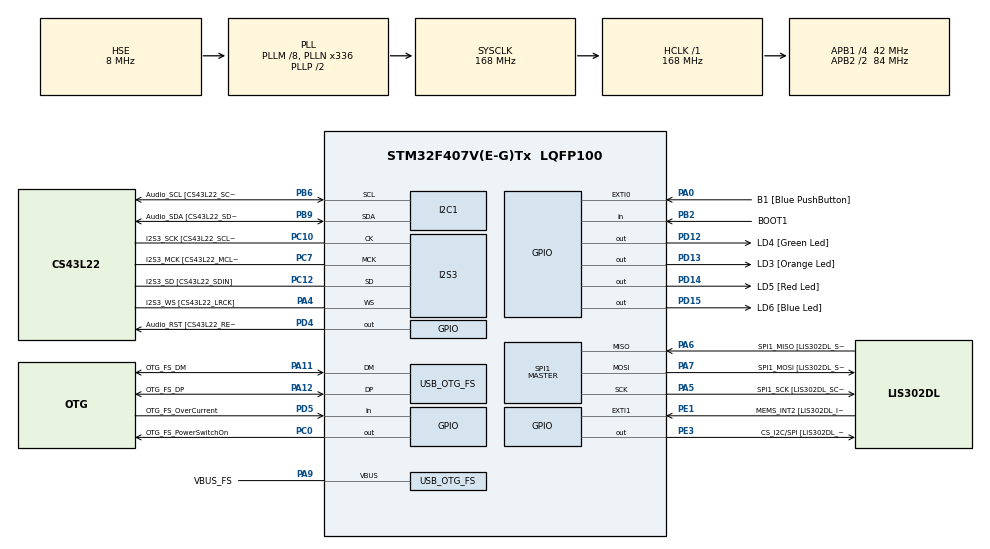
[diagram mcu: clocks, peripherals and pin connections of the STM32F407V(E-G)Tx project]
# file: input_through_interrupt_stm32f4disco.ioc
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I2S3.AudioFreq-Half_Duplex_Master=I2S_AUDIOFREQ_96K
I2S3.ErrorAudioFreq=-2.34 %
I2S3.ErrorAudioFreq-Half_Duplex_Master=0.8 %
I2S3.FullDuplexMode=I2S_FULLDUPLEXMODE_DISABLE
I2S3.Instance=SPI$Index
I2S3.RealAudioFreq=93.75 KHz
I2S3.RealAudioFreq-Half_Duplex_Master=96.774 KHz
I2S3.VirtualMode=I2S_MODE_MASTER
Mcu.Family=STM32F4
Mcu.Name=STM32F407V(E-G)Tx
Mcu.Package=LQFP100
NVIC.EXTI0_IRQn=true\:0\:0\:false\:false\:true\:true\:true
NVIC.OTG_FS_IRQn=true\:0\:0\:false\:false\:true\:true\:true
NVIC.PriorityGroup=NVIC_PRIORITYGROUP_0
PA0-WKUP.GPIO_Label=B1 [Blue PushButton]
PA0-WKUP.GPIO_ModeDefaultEXTI=GPIO_MODE_IT_RISING_FALLING
PA0-WKUP.GPIO_PuPd=GPIO_NOPULL
PA0-WKUP.Signal=GPXTI0
PA10.GPIO_Label=OTG_FS_ID
PA10.GPIO_Mode=GPIO_MODE_AF_PP
PA10.GPIO_PuPd=GPIO_NOPULL
PA10.GPIO_Speed=GPIO_SPEED_FREQ_LOW
PA10.Signal=USB_OTG_FS_ID
PA11.GPIO_Label=OTG_FS_DM
PA11.GPIO_Mode=GPIO_MODE_AF_PP
PA11.GPIO_PuPd=GPIO_NOPULL
PA11.GPIO_Speed=GPIO_SPEED_FREQ_LOW
PA11.Mode=Host_Only
PA11.Signal=USB_OTG_FS_DM
PA12.GPIO_Label=OTG_FS_DP
PA12.GPIO_Mode=GPIO_MODE_AF_PP
PA12.GPIO_PuPd=GPIO_NOPULL
PA12.GPIO_Speed=GPIO_SPEED_FREQ_LOW
PA12.Mode=Host_Only
PA12.Signal=USB_OTG_FS_DP
PA13.GPIO_Label=SWDIO
PA13.Mode=Serial_Wire
PA13.Signal=SYS_JTMS-SWDIO
PA14.GPIO_Label=SWCLK
PA14.Mode=Serial_Wire
PA14.Signal=SYS_JTCK-SWCLK
PA4.GPIO_Label=I2S3_WS [CS43L22_LRCK]
PA4.GPIO_Mode=GPIO_MODE_AF_PP
PA4.GPIO_PuPd=GPIO_NOPULL
PA4.GPIO_Speed=GPIO_SPEED_FREQ_LOW
PA4.Mode=Half_Duplex_Master
PA4.Signal=I2S3_WS
PA5.GPIO_Label=SPI1_SCK [LIS302DL_SCL/SPC]
PA5.GPIO_Mode=GPIO_MODE_AF_PP
PA5.GPIO_PuPd=GPIO_NOPULL
PA5.GPIO_Speed=GPIO_SPEED_FREQ_LOW
PA5.Mode=Full_Duplex_Master
PA5.Signal=SPI1_SCK
PA6.GPIO_Label=SPI1_MISO [LIS302DL_SDO]
PA6.GPIO_Mode=GPIO_MODE_AF_PP
PA6.GPIO_PuPd=GPIO_NOPULL
PA6.GPIO_Speed=GPIO_SPEED_FREQ_LOW
PA6.Mode=Full_Duplex_Master
PA6.Signal=SPI1_MISO
PA7.GPIO_Label=SPI1_MOSI [LIS302DL_SDA/SDI/SDO]
PA7.GPIO_Mode=GPIO_MODE_AF_PP
PA7.GPIO_PuPd=GPIO_NOPULL
PA7.GPIO_Speed=GPIO_SPEED_FREQ_LOW
PA7.Mode=Full_Duplex_Master
PA7.Signal=SPI1_MOSI
PA9.GPIO_Label=VBUS_FS
PA9.GPIO_Mode=GPIO_MODE_INPUT
PA9.GPIO_PuPd=GPIO_NOPULL
PA9.Mode=Activate_VBUS
PA9.Signal=USB_OTG_FS_VBUS
PB10.GPIO_Label=CLK_IN [MP45DT02_CLK]
PB10.GPIO_Mode=GPIO_MODE_AF_PP
PB10.GPIO_PuPd=GPIO_NOPULL
PB10.GPIO_Speed=GPIO_SPEED_FREQ_LOW
PB10.Signal=I2S2_CK
PB2.GPIO_Label=BOOT1
PB2.GPIO_Mode=GPIO_MODE_INPUT
PB2.GPIO_PuPd=GPIO_NOPULL
PB2.Signal=GPIO_Input
PB3.GPIO_Label=SWO
PB3.Signal=SYS_JTDO-SWO
PB6.GPIO_Label=Audio_SCL [CS43L22_SCL]
PB6.GPIO_Mode=GPIO_MODE_AF_OD
PB6.GPIO_Pu=GPIO_PULLUP
PB6.GPIO_PuPd=GPIO_NOPULL
PB6.GPIO_Speed=GPIO_SPEED_FREQ_LOW
PB6.Mode=I2C
PB6.Signal=I2C1_SCL
PB9.GPIO_Label=Audio_SDA [CS43L22_SDA]
PB9.GPIO_Mode=GPIO_MODE_AF_OD
PB9.GPIO_Pu=GPIO_PULLUP
PB9.GPIO_PuPd=GPIO_NOPULL
PB9.GPIO_Speed=GPIO_SPEED_FREQ_LOW
PB9.Mode=I2C
PB9.Signal=I2C1_SDA
PC0.GPIO_Label=OTG_FS_PowerSwitchOn
PC0.GPIO_PuPd=GPIO_NOPULL
PC0.GPIO_Speed=GPIO_SPEED_FREQ_LOW
PC0.PinState=GPIO_PIN_SET
PC0.Signal=GPIO_Output
PC10.GPIO_Label=I2S3_SCK [CS43L22_SCLK]
PC10.GPIO_Mode=GPIO_MODE_AF_PP
PC10.GPIO_PuPd=GPIO_NOPULL
PC10.GPIO_Speed=GPIO_SPEED_FREQ_LOW
PC10.Mode=Half_Duplex_Master
PC10.Signal=I2S3_CK
PC12.GPIO_Label=I2S3_SD [CS43L22_SDIN]
PC12.GPIO_Mode=GPIO_MODE_AF_PP
PC12.GPIO_PuPd=GPIO_NOPULL
PC12.GPIO_Speed=GPIO_SPEED_FREQ_LOW
PC12.Mode=Half_Duplex_Master
PC12.Signal=I2S3_SD
PC14-OSC32_IN.GPIO_Label=PC14-OSC32_IN
PC14-OSC32_IN.Mode=LSE-External-Oscillator
PC14-OSC32_IN.Signal=RCC_OSC32_IN
PC15-OSC32_OUT.GPIO_Label=PC15-OSC32_OUT
PC15-OSC32_OUT.Mode=LSE-External-Oscillator
PC15-OSC32_OUT.Signal=RCC_OSC32_OUT
PC3.GPIO_Label=PDM_OUT [MP45DT02_DOUT]
PC3.GPIO_Mode=GPIO_MODE_AF_PP
PC3.GPIO_PuPd=GPIO_NOPULL
PC3.GPIO_Speed=GPIO_SPEED_FREQ_LOW
PC3.Signal=I2S2_SD
PC7.GPIO_Label=I2S3_MCK [CS43L22_MCLK]
PC7.GPIO_Mode=GPIO_MODE_AF_PP
PC7.GPIO_PuPd=GPIO_NOPULL
PC7.GPIO_Speed=GPIO_SPEED_FREQ_LOW
PC7.Mode=Master_Clock_Activated
PC7.Signal=I2S3_MCK
PD12.GPIO_Label=LD4 [Green Led]
PD12.GPIO_PuPd=GPIO_NOPULL
PD12.GPIO_Speed=GPIO_SPEED_FREQ_LOW
PD12.Signal=GPIO_Output
PD13.GPIO_Label=LD3 [Orange Led]
PD13.GPIO_PuPd=GPIO_NOPULL
PD13.GPIO_Speed=GPIO_SPEED_FREQ_LOW
PD13.Signal=GPIO_Output
PD14.GPIO_Label=LD5 [Red Led]
PD14.GPIO_PuPd=GPIO_NOPULL
PD14.GPIO_Speed=GPIO_SPEED_FREQ_LOW
PD14.Signal=GPIO_Output
PD15.GPIO_Label=LD6 [Blue Led]
PD15.GPIO_PuPd=GPIO_NOPULL
PD15.GPIO_Speed=GPIO_SPEED_FREQ_LOW
PD15.Signal=GPIO_Output
PD4.GPIO_Label=Audio_RST [CS43L22_RESET]
PD4.GPIO_PuPd=GPIO_NOPULL
PD4.GPIO_Speed=GPIO_SPEED_FREQ_LOW
PD4.Signal=GPIO_Output
PD5.GPIO_Label=OTG_FS_OverCurrent
PD5.GPIO_Mode=GPIO_MODE_INPUT
PD5.GPIO_PuPd=GPIO_NOPULL
PD5.Signal=GPIO_Input
PE1.GPIO_Label=MEMS_INT2 [LIS302DL_INT2]
PE1.GPIO_ModeDefaultEXTI=GPIO_MODE_EVT_RISING
PE1.GPIO_PuPd=GPIO_NOPULL
PE1.Signal=GPXTI1
PE3.GPIO_Label=CS_I2C/SPI [LIS302DL_CS_I2C/SPI]
PE3.GPIO_PuPd=GPIO_NOPULL
PE3.GPIO_Speed=GPIO_SPEED_FREQ_LOW
PE3.Signal=GPIO_Output
PH0-OSC_IN.GPIO_Label=PH0-OSC_IN
PH0-OSC_IN.Mode=HSE-External-Oscillator
PH0-OSC_IN.Signal=RCC_OSC_IN
PH1-OSC_OUT.GPIO_Label=PH1-OSC_OUT
PH1-OSC_OUT.Mode=HSE-External-Oscillator
PH1-OSC_OUT.Signal=RCC_OSC_OUT
ProjectManager.HeapSize=0x200
ProjectManager.StackSize=0x400
ProjectManager.TargetToolchain=STM32CubeIDE
RCC.48MHZClocksFreq_Value=48000000
RCC.AHBFreq_Value=168000000
RCC.APB1CLKDivider=RCC_HCLK_DIV4
RCC.APB1Freq_Value=42000000
RCC.APB1TimFreq_Value=84000000
RCC.APB2CLKDivider=RCC_HCLK_DIV2
RCC.APB2Freq_Value=84000000
RCC.APB2TimFreq_Value=168000000
RCC.CortexFreq_Value=168000000
RCC.HCLKFreq_Value=168000000
RCC.HSE_VALUE=8000000
RCC.HSI_VALUE=16000000
RCC.PLLM=8
RCC.PLLN=336
RCC.PLLQ=7
RCC.SYSCLKFreq_VALUE=168000000
RCC.SYSCLKSource=RCC_SYSCLKSOURCE_PLLCLK
RCC.VCOOutputFreq_Value=336000000
SPI1.BaudRatePrescaler-Full_Duplex_Master=SPI_BAUDRATEPRESCALER_2
SPI1.CalculateBaudRate-Full_Duplex_Master=42.0 MBits/s
SPI1.Direction=SPI_DIRECTION_2LINES
SPI1.Mode=SPI_MODE_MASTER
SPI1.Mode-Full_Duplex_Master=SPI_MODE_MASTER
SPI1.VirtualType=VM_MASTER
USB_HOST.BSP.number=1
USB_HOST.USBH_HandleTypeDef-CDC_FS=hUsbHostFS
USB_HOST.VirtualModeFS=Cdc
USB_HOST0.BSP.STBoard=false
USB_HOST0.BSP.api=Unknown
USB_HOST0.BSP.i2caddr=0
USB_HOST0.BSP.i2creg=0
USB_HOST0.BSP.instance=PC0
USB_HOST0.BSP.ip=GPIO
USB_HOST0.BSP.mode=Output
USB_HOST0.BSP.name=Drive_VBUS_FS
USB_HOST0.BSP.solution=PC0
USB_OTG_FS.VirtualMode=Host_Only
USB_OTG_FS.phy_itface=HCD_PHY_EMBEDDED
VP_USB_HOST_VS_USB_HOST_CDC_FS.Mode=CDC_FS
board=STM32F407G-DISC1

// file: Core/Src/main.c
/* USER CODE BEGIN Header */
/**
  ******************************************************************************
  * @file           : main.c
  * @brief          : Main program body
  ******************************************************************************
  * @attention
  *
  * Copyright (c) 2021 STMicroelectronics.
  * All rights reserved.
  *
  * This software is licensed under terms that can be found in the LICENSE file
  * in the root directory of this software component.
  * If no LICENSE file comes with this software, it is provided AS-IS.
  *
  ******************************************************************************
  */
/* USER CODE END Header */
#include "main.h"
#include "usb_host.h"

/* USER CODE BEGIN Includes */
#include "stm32f4_discovery.h"
#include "systick_timer.h"
#include "button_interrupt.h"
/* USER CODE END Includes */

I2C_HandleTypeDef hi2c1;

I2S_HandleTypeDef hi2s3;

SPI_HandleTypeDef hspi1;

/* USER CODE BEGIN PV */
SYSTick_Timer_t  timer_1 , timer_2;
/* USER CODE END PV */

void SystemClock_Config(void);
static void MX_GPIO_Init(void);
static void MX_I2C1_Init(void);
static void MX_I2S3_Init(void);
static void MX_SPI1_Init(void);
void MX_USB_HOST_Process(void);

int main(void)
{

  /* MCU Configuration--------------------------------------------------------*/

  /* Reset of all peripherals, Initializes the Flash interface and the Systick. */
  HAL_Init();

  /* Configure the system clock */
  SystemClock_Config();

  /* Initialize all configured peripherals */
  MX_GPIO_Init();
  MX_I2C1_Init();
  MX_I2S3_Init();
  MX_SPI1_Init();
  MX_USB_HOST_Init();

  /* Infinite loop */
  /* USER CODE BEGIN WHILE */
  BSP_LED_Init(LED4);
  BSP_LED_Init(LED3);
  BSP_LED_Init(LED5);
  BSP_LED_Init(LED6);
  // BSP_PB_Init(BUTTON_KEY, BUTTON_MODE_EXTI);
  // let MX_GPIO_Init it to GPIO_MODE_IT_RISING_FALLING
  user_button_state = BSP_PB_GetState(BUTTON_KEY);
  start_systick_timer(&timer_1, 500);
  start_systick_timer(&timer_2, 100);
  while (1)
  {
    if(Timer_Expired == get_systick_timer(&timer_1))
    {
      BSP_LED_Toggle(LED4);
      start_systick_timer(&timer_1, 500);
    }
    if(Timer_Expired == get_systick_timer(&timer_2))
    {
      BSP_LED_Toggle(LED5);
      start_systick_timer(&timer_2, 700);
    }
    if(user_button_state)
    { // BUTTON_KEY pressed
      BSP_LED_On(LED6);
    }
    else
    { // BUTTON_KEY released
      BSP_LED_Off(LED6);
    }
    /* USER CODE END WHILE */
    MX_USB_HOST_Process();

  }
}

void SystemClock_Config(void)
{
  RCC_OscInitTypeDef RCC_OscInitStruct = {0};
  RCC_ClkInitTypeDef RCC_ClkInitStruct = {0};

  /** Configure the main internal regulator output voltage
  */
  __HAL_RCC_PWR_CLK_ENABLE();
  __HAL_PWR_VOLTAGESCALING_CONFIG(PWR_REGULATOR_VOLTAGE_SCALE1);
  /** Initializes the RCC Oscillators according to the specified parameters
  * in the RCC_OscInitTypeDef structure.
  */
  RCC_OscInitStruct.OscillatorType = RCC_OSCILLATORTYPE_HSE;
  RCC_OscInitStruct.HSEState = RCC_HSE_ON;
  RCC_OscInitStruct.PLL.PLLState = RCC_PLL_ON;
  RCC_OscInitStruct.PLL.PLLSource = RCC_PLLSOURCE_HSE;
  RCC_OscInitStruct.PLL.PLLM = 8;
  RCC_OscInitStruct.PLL.PLLN = 336;
  RCC_OscInitStruct.PLL.PLLP = RCC_PLLP_DIV2;
  RCC_OscInitStruct.PLL.PLLQ = 7;
  if (HAL_RCC_OscConfig(&RCC_OscInitStruct) != HAL_OK)
  {
    Error_Handler();
  }
  /** Initializes the CPU, AHB and APB buses clocks
  */
  RCC_ClkInitStruct.ClockType = RCC_CLOCKTYPE_HCLK|RCC_CLOCKTYPE_SYSCLK
                              |RCC_CLOCKTYPE_PCLK1|RCC_CLOCKTYPE_PCLK2;
  RCC_ClkInitStruct.SYSCLKSource = RCC_SYSCLKSOURCE_PLLCLK;
  RCC_ClkInitStruct.AHBCLKDivider = RCC_SYSCLK_DIV1;
  RCC_ClkInitStruct.APB1CLKDivider = RCC_HCLK_DIV4;
  RCC_ClkInitStruct.APB2CLKDivider = RCC_HCLK_DIV2;

  if (HAL_RCC_ClockConfig(&RCC_ClkInitStruct, FLASH_LATENCY_5) != HAL_OK)
  {
    Error_Handler();
  }
}

static void MX_I2C1_Init(void)
{

  hi2c1.Instance = I2C1;
  hi2c1.Init.ClockSpeed = 100000;
  hi2c1.Init.DutyCycle = I2C_DUTYCYCLE_2;
  hi2c1.Init.OwnAddress1 = 0;
  hi2c1.Init.AddressingMode = I2C_ADDRESSINGMODE_7BIT;
  hi2c1.Init.DualAddressMode = I2C_DUALADDRESS_DISABLE;
  hi2c1.Init.OwnAddress2 = 0;
  hi2c1.Init.GeneralCallMode = I2C_GENERALCALL_DISABLE;
  hi2c1.Init.NoStretchMode = I2C_NOSTRETCH_DISABLE;
  if (HAL_I2C_Init(&hi2c1) != HAL_OK)
  {
    Error_Handler();
  }

}

static void MX_I2S3_Init(void)
{

  hi2s3.Instance = SPI3;
  hi2s3.Init.Mode = I2S_MODE_MASTER_TX;
  hi2s3.Init.Standard = I2S_STANDARD_PHILIPS;
  hi2s3.Init.DataFormat = I2S_DATAFORMAT_16B;
  hi2s3.Init.MCLKOutput = I2S_MCLKOUTPUT_ENABLE;
  hi2s3.Init.AudioFreq = I2S_AUDIOFREQ_96K;
  hi2s3.Init.CPOL = I2S_CPOL_LOW;
  hi2s3.Init.ClockSource = I2S_CLOCK_PLL;
  hi2s3.Init.FullDuplexMode = I2S_FULLDUPLEXMODE_DISABLE;
  if (HAL_I2S_Init(&hi2s3) != HAL_OK)
  {
    Error_Handler();
  }

}

static void MX_SPI1_Init(void)
{

  /* SPI1 parameter configuration*/
  hspi1.Instance = SPI1;
  hspi1.Init.Mode = SPI_MODE_MASTER;
  hspi1.Init.Direction = SPI_DIRECTION_2LINES;
  hspi1.Init.DataSize = SPI_DATASIZE_8BIT;
  hspi1.Init.CLKPolarity = SPI_POLARITY_LOW;
  hspi1.Init.CLKPhase = SPI_PHASE_1EDGE;
  hspi1.Init.NSS = SPI_NSS_SOFT;
  hspi1.Init.BaudRatePrescaler = SPI_BAUDRATEPRESCALER_2;
  hspi1.Init.FirstBit = SPI_FIRSTBIT_MSB;
  hspi1.Init.TIMode = SPI_TIMODE_DISABLE;
  hspi1.Init.CRCCalculation = SPI_CRCCALCULATION_DISABLE;
  hspi1.Init.CRCPolynomial = 10;
  if (HAL_SPI_Init(&hspi1) != HAL_OK)
  {
    Error_Handler();
  }

}

static void MX_GPIO_Init(void)
{
  GPIO_InitTypeDef GPIO_InitStruct = {0};

  /* GPIO Ports Clock Enable */
  __HAL_RCC_GPIOE_CLK_ENABLE();
  __HAL_RCC_GPIOC_CLK_ENABLE();
  __HAL_RCC_GPIOH_CLK_ENABLE();
  __HAL_RCC_GPIOA_CLK_ENABLE();
  __HAL_RCC_GPIOB_CLK_ENABLE();
  __HAL_RCC_GPIOD_CLK_ENABLE();

  /*Configure GPIO pin Output Level */
  HAL_GPIO_WritePin(CS_I2C_SPI_GPIO_Port, CS_I2C_SPI_Pin, GPIO_PIN_RESET);

  /*Configure GPIO pin Output Level */
  HAL_GPIO_WritePin(OTG_FS_PowerSwitchOn_GPIO_Port, OTG_FS_PowerSwitchOn_Pin, GPIO_PIN_SET);

  /*Configure GPIO pin Output Level */
  HAL_GPIO_WritePin(GPIOD, LD4_Pin|LD3_Pin|LD5_Pin|LD6_Pin
                          |Audio_RST_Pin, GPIO_PIN_RESET);

  /*Configure GPIO pin : CS_I2C_SPI_Pin */
  GPIO_InitStruct.Pin = CS_I2C_SPI_Pin;
  GPIO_InitStruct.Mode = GPIO_MODE_OUTPUT_PP;
  GPIO_InitStruct.Pull = GPIO_NOPULL;
  GPIO_InitStruct.Speed = GPIO_SPEED_FREQ_LOW;
  HAL_GPIO_Init(CS_I2C_SPI_GPIO_Port, &GPIO_InitStruct);

  /*Configure GPIO pin : OTG_FS_PowerSwitchOn_Pin */
  GPIO_InitStruct.Pin = OTG_FS_PowerSwitchOn_Pin;
  GPIO_InitStruct.Mode = GPIO_MODE_OUTPUT_PP;
  GPIO_InitStruct.Pull = GPIO_NOPULL;
  GPIO_InitStruct.Speed = GPIO_SPEED_FREQ_LOW;
  HAL_GPIO_Init(OTG_FS_PowerSwitchOn_GPIO_Port, &GPIO_InitStruct);

  /*Configure GPIO pin : PDM_OUT_Pin */
  GPIO_InitStruct.Pin = PDM_OUT_Pin;
  GPIO_InitStruct.Mode = GPIO_MODE_AF_PP;
  GPIO_InitStruct.Pull = GPIO_NOPULL;
  GPIO_InitStruct.Speed = GPIO_SPEED_FREQ_LOW;
  GPIO_InitStruct.Alternate = GPIO_AF5_SPI2;
  HAL_GPIO_Init(PDM_OUT_GPIO_Port, &GPIO_InitStruct);

  /*Configure GPIO pin : B1_Pin */
  GPIO_InitStruct.Pin = B1_Pin;
  GPIO_InitStruct.Mode = GPIO_MODE_IT_RISING_FALLING;
  GPIO_InitStruct.Pull = GPIO_NOPULL;
  HAL_GPIO_Init(B1_GPIO_Port, &GPIO_InitStruct);

  /*Configure GPIO pin : BOOT1_Pin */
  GPIO_InitStruct.Pin = BOOT1_Pin;
  GPIO_InitStruct.Mode = GPIO_MODE_INPUT;
  GPIO_InitStruct.Pull = GPIO_NOPULL;
  HAL_GPIO_Init(BOOT1_GPIO_Port, &GPIO_InitStruct);

  /*Configure GPIO pin : CLK_IN_Pin */
  GPIO_InitStruct.Pin = CLK_IN_Pin;
  GPIO_InitStruct.Mode = GPIO_MODE_AF_PP;
  GPIO_InitStruct.Pull = GPIO_NOPULL;
  GPIO_InitStruct.Speed = GPIO_SPEED_FREQ_LOW;
  GPIO_InitStruct.Alternate = GPIO_AF5_SPI2;
  HAL_GPIO_Init(CLK_IN_GPIO_Port, &GPIO_InitStruct);

  /*Configure GPIO pins : LD4_Pin LD3_Pin LD5_Pin LD6_Pin
                           Audio_RST_Pin */
  GPIO_InitStruct.Pin = LD4_Pin|LD3_Pin|LD5_Pin|LD6_Pin
                          |Audio_RST_Pin;
  GPIO_InitStruct.Mode = GPIO_MODE_OUTPUT_PP;
  GPIO_InitStruct.Pull = GPIO_NOPULL;
  GPIO_InitStruct.Speed = GPIO_SPEED_FREQ_LOW;
  HAL_GPIO_Init(GPIOD, &GPIO_InitStruct);

  /*Configure GPIO pin : OTG_FS_OverCurrent_Pin */
  GPIO_InitStruct.Pin = OTG_FS_OverCurrent_Pin;
  GPIO_InitStruct.Mode = GPIO_MODE_INPUT;
  GPIO_InitStruct.Pull = GPIO_NOPULL;
  HAL_GPIO_Init(OTG_FS_OverCurrent_GPIO_Port, &GPIO_InitStruct);

  /*Configure GPIO pin : MEMS_INT2_Pin */
  GPIO_InitStruct.Pin = MEMS_INT2_Pin;
  GPIO_InitStruct.Mode = GPIO_MODE_EVT_RISING;
  GPIO_InitStruct.Pull = GPIO_NOPULL;
  HAL_GPIO_Init(MEMS_INT2_GPIO_Port, &GPIO_InitStruct);

  /* EXTI interrupt init*/
  HAL_NVIC_SetPriority(EXTI0_IRQn, 0, 0);
  HAL_NVIC_EnableIRQ(EXTI0_IRQn);

}

void Error_Handler(void)
{
  __disable_irq();
  while (1)
  {
  }
}
